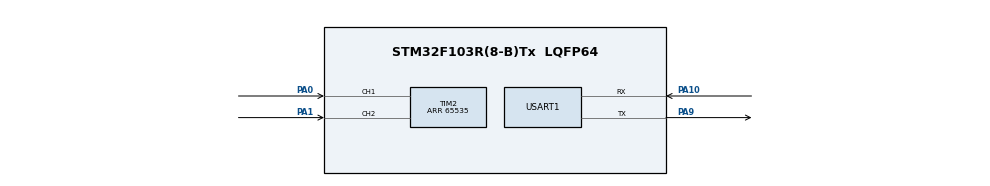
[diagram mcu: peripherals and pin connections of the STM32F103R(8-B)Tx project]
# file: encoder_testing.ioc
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Mcu.Family=STM32F1
Mcu.Name=STM32F103R(8-B)Tx
Mcu.Package=LQFP64
NVIC.PriorityGroup=NVIC_PRIORITYGROUP_4
PA0-WKUP.Signal=S_TIM2_CH1_ETR
PA1.Signal=S_TIM2_CH2
PA10.Mode=Asynchronous
PA10.Signal=USART1_RX
PA13.Mode=Serial_Wire
PA13.Signal=SYS_JTMS-SWDIO
PA14.Mode=Serial_Wire
PA14.Signal=SYS_JTCK-SWCLK
PA2.Signal=USART2_TX
PA9.Mode=Asynchronous
PA9.Signal=USART1_TX
ProjectManager.HeapSize=0x200
ProjectManager.StackSize=0x400
ProjectManager.TargetToolchain=SW4STM32
RCC.APB1Freq_Value=8000000
RCC.APB2Freq_Value=8000000
SH.S_TIM2_CH1_ETR.0=TIM2_CH1,Encoder_Interface
SH.S_TIM2_CH2.0=TIM2_CH2,Encoder_Interface
TIM2.EncoderMode=TIM_ENCODERMODE_TI12
TIM2.Period=65535
USART1.VirtualMode=VM_ASYNC
board=custom

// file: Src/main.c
/**
  ******************************************************************************
  * @file           : main.c
  * @brief          : Main program body
  ******************************************************************************
  ** This notice applies to any and all portions of this file
  * that are not between comment pairs USER CODE BEGIN and
  * USER CODE END. Other portions of this file, whether
  * inserted by the user or by software development tools
  * are owned by their respective copyright owners.
  *
  * COPYRIGHT(c) 2018 STMicroelectronics
  *
  * Redistribution and use in source and binary forms, with or without modification,
  * are permitted provided that the following conditions are met:
  *   1. Redistributions of source code must retain the above copyright notice,
  *      this list of conditions and the following disclaimer.
  *   2. Redistributions in binary form must reproduce the above copyright notice,
  *      this list of conditions and the following disclaimer in the documentation
  *      and/or other materials provided with the distribution.
  *   3. Neither the name of STMicroelectronics nor the names of its contributors
  *      may be used to endorse or promote products derived from this software
  *      without specific prior written permission.
  *
  * THIS SOFTWARE IS PROVIDED BY THE COPYRIGHT HOLDERS AND CONTRIBUTORS "AS IS"
  * AND ANY EXPRESS OR IMPLIED WARRANTIES, INCLUDING, BUT NOT LIMITED TO, THE
  * IMPLIED WARRANTIES OF MERCHANTABILITY AND FITNESS FOR A PARTICULAR PURPOSE ARE
  * DISCLAIMED. IN NO EVENT SHALL THE COPYRIGHT HOLDER OR CONTRIBUTORS BE LIABLE
  * FOR ANY DIRECT, INDIRECT, INCIDENTAL, SPECIAL, EXEMPLARY, OR CONSEQUENTIAL
  * DAMAGES (INCLUDING, BUT NOT LIMITED TO, PROCUREMENT OF SUBSTITUTE GOODS OR
  * SERVICES; LOSS OF USE, DATA, OR PROFITS; OR BUSINESS INTERRUPTION) HOWEVER
  * CAUSED AND ON ANY THEORY OF LIABILITY, WHETHER IN CONTRACT, STRICT LIABILITY,
  * OR TORT (INCLUDING NEGLIGENCE OR OTHERWISE) ARISING IN ANY WAY OUT OF THE USE
  * OF THIS SOFTWARE, EVEN IF ADVISED OF THE POSSIBILITY OF SUCH DAMAGE.
  *
  ******************************************************************************
  */
#include "main.h"
#include "stm32f1xx_hal.h"

/* USER CODE BEGIN Includes */

#include <errno.h>
#include <sys/unistd.h>

/* USER CODE END Includes */

TIM_HandleTypeDef htim2;

UART_HandleTypeDef huart1;

/* USER CODE BEGIN PV */
/* Private variables ---------------------------------------------------------*/

/* USER CODE END PV */

void SystemClock_Config(void);
static void MX_GPIO_Init(void);
static void MX_USART1_UART_Init(void);
static void MX_TIM2_Init(void);

/* USER CODE BEGIN PFP */
/* Private function prototypes -----------------------------------------------*/

/* USER CODE END PFP */

/* USER CODE BEGIN 0 */

int _write(int file, char *data, int len) {
	if ((file != STDOUT_FILENO) && (file != STDERR_FILENO)) {
		errno = EBADF;
		return -1;
	}

	HAL_StatusTypeDef status =
			HAL_UART_Transmit(&huart1, (uint8_t *) data, len, 1000);

	return (status == HAL_OK ? len : 0);
}

/* USER CODE END 0 */

int main(void)
{
  /* USER CODE BEGIN 1 */
	uint8_t tx_buf[32] = "Hello!\n\r";

  /* USER CODE END 1 */

  /* MCU Configuration----------------------------------------------------------*/

  /* Reset of all peripherals, Initializes the Flash interface and the Systick. */
  HAL_Init();

  /* Configure the system clock */
  SystemClock_Config();

  /* Initialize all configured peripherals */
  MX_GPIO_Init();
  MX_USART1_UART_Init();
  MX_TIM2_Init();
  /* USER CODE BEGIN 2 */

  GPIO_InitTypeDef GPIO_InitStruct;
  GPIO_InitStruct.Pin = GPIO_PIN_5;
  GPIO_InitStruct.Mode = GPIO_MODE_OUTPUT_PP;
  GPIO_InitStruct.Speed = GPIO_SPEED_FREQ_HIGH;
  GPIO_InitStruct.Pull = GPIO_NOPULL;
  HAL_GPIO_Init(GPIOA, &GPIO_InitStruct);

  uint16_t last_value = 0, current_value = 0;

  /* USER CODE END 2 */

  /* Infinite loop */
  while (1)
  {

  /* USER CODE BEGIN 3 */
	  HAL_Delay(500);

	  current_value = TIM2->CNT;

	  int32_t delta  = current_value - last_value;
	  int velocity;
	  int len;

	  if (delta < 0) {
		  velocity = abs(delta);
		  len = sprintf((char*)tx_buf, "Velocity: -%d\n\r", velocity);
	  } else {
		  velocity = delta;
		  len = sprintf((char*)tx_buf, "Velocity: %d\n\r", velocity);
	  }

	  HAL_UART_Transmit(&huart1, tx_buf, len, 1000);

	  int thing = TIM2->CNT;
	  len = sprintf((char*) tx_buf, "Count: %d\n\r", thing);
	  HAL_UART_Transmit(&huart1, tx_buf, len, 1000);

	  HAL_GPIO_TogglePin(GPIOA, GPIO_PIN_5);

  }
  /* USER CODE END 3 */

}

void SystemClock_Config(void)
{

  RCC_OscInitTypeDef RCC_OscInitStruct;
  RCC_ClkInitTypeDef RCC_ClkInitStruct;

    /**Initializes the CPU, AHB and APB busses clocks
    */
  RCC_OscInitStruct.OscillatorType = RCC_OSCILLATORTYPE_HSI;
  RCC_OscInitStruct.HSIState = RCC_HSI_ON;
  RCC_OscInitStruct.HSICalibrationValue = 16;
  RCC_OscInitStruct.PLL.PLLState = RCC_PLL_NONE;
  if (HAL_RCC_OscConfig(&RCC_OscInitStruct) != HAL_OK)
  {
    _Error_Handler(__FILE__, __LINE__);
  }

    /**Initializes the CPU, AHB and APB busses clocks
    */
  RCC_ClkInitStruct.ClockType = RCC_CLOCKTYPE_HCLK|RCC_CLOCKTYPE_SYSCLK
                              |RCC_CLOCKTYPE_PCLK1|RCC_CLOCKTYPE_PCLK2;
  RCC_ClkInitStruct.SYSCLKSource = RCC_SYSCLKSOURCE_HSI;
  RCC_ClkInitStruct.AHBCLKDivider = RCC_SYSCLK_DIV1;
  RCC_ClkInitStruct.APB1CLKDivider = RCC_HCLK_DIV1;
  RCC_ClkInitStruct.APB2CLKDivider = RCC_HCLK_DIV1;

  if (HAL_RCC_ClockConfig(&RCC_ClkInitStruct, FLASH_LATENCY_0) != HAL_OK)
  {
    _Error_Handler(__FILE__, __LINE__);
  }

    /**Configure the Systick interrupt time
    */
  HAL_SYSTICK_Config(HAL_RCC_GetHCLKFreq()/1000);

    /**Configure the Systick
    */
  HAL_SYSTICK_CLKSourceConfig(SYSTICK_CLKSOURCE_HCLK);

  /* SysTick_IRQn interrupt configuration */
  HAL_NVIC_SetPriority(SysTick_IRQn, 0, 0);
}

/* TIM2 init function */
static void MX_TIM2_Init(void)
{

  TIM_Encoder_InitTypeDef sConfig;
  TIM_MasterConfigTypeDef sMasterConfig;

  htim2.Instance = TIM2;
  htim2.Init.Prescaler = 0;
  htim2.Init.CounterMode = TIM_COUNTERMODE_UP;
  htim2.Init.Period = 65535;
  htim2.Init.ClockDivision = TIM_CLOCKDIVISION_DIV1;
  htim2.Init.AutoReloadPreload = TIM_AUTORELOAD_PRELOAD_DISABLE;
  sConfig.EncoderMode = TIM_ENCODERMODE_TI12;
  sConfig.IC1Polarity = TIM_ICPOLARITY_RISING;
  sConfig.IC1Selection = TIM_ICSELECTION_DIRECTTI;
  sConfig.IC1Prescaler = TIM_ICPSC_DIV1;
  sConfig.IC1Filter = 0;
  sConfig.IC2Polarity = TIM_ICPOLARITY_RISING;
  sConfig.IC2Selection = TIM_ICSELECTION_DIRECTTI;
  sConfig.IC2Prescaler = TIM_ICPSC_DIV1;
  sConfig.IC2Filter = 0;
  if (HAL_TIM_Encoder_Init(&htim2, &sConfig) != HAL_OK)
  {
    _Error_Handler(__FILE__, __LINE__);
  }

  sMasterConfig.MasterOutputTrigger = TIM_TRGO_RESET;
  sMasterConfig.MasterSlaveMode = TIM_MASTERSLAVEMODE_DISABLE;
  if (HAL_TIMEx_MasterConfigSynchronization(&htim2, &sMasterConfig) != HAL_OK)
  {
    _Error_Handler(__FILE__, __LINE__);
  }

}

/* USART1 init function */
static void MX_USART1_UART_Init(void)
{

  huart1.Instance = USART1;
  huart1.Init.BaudRate = 115200;
  huart1.Init.WordLength = UART_WORDLENGTH_8B;
  huart1.Init.StopBits = UART_STOPBITS_1;
  huart1.Init.Parity = UART_PARITY_NONE;
  huart1.Init.Mode = UART_MODE_TX_RX;
  huart1.Init.HwFlowCtl = UART_HWCONTROL_NONE;
  huart1.Init.OverSampling = UART_OVERSAMPLING_16;
  if (HAL_UART_Init(&huart1) != HAL_OK)
  {
    _Error_Handler(__FILE__, __LINE__);
  }

}

/** Configure pins
     PA2   ------> USART2_TX
*/
static void MX_GPIO_Init(void)
{

  GPIO_InitTypeDef GPIO_InitStruct;

  /* GPIO Ports Clock Enable */
  __HAL_RCC_GPIOA_CLK_ENABLE();

  /*Configure GPIO pin : PA2 */
  GPIO_InitStruct.Pin = GPIO_PIN_2;
  GPIO_InitStruct.Mode = GPIO_MODE_AF_PP;
  GPIO_InitStruct.Speed = GPIO_SPEED_FREQ_HIGH;
  HAL_GPIO_Init(GPIOA, &GPIO_InitStruct);

}

void _Error_Handler(char *file, int line)
{
  while(1)
  {
  }
}

/************************ (C) COPYRIGHT STMicroelectronics *****END OF FILE****/
